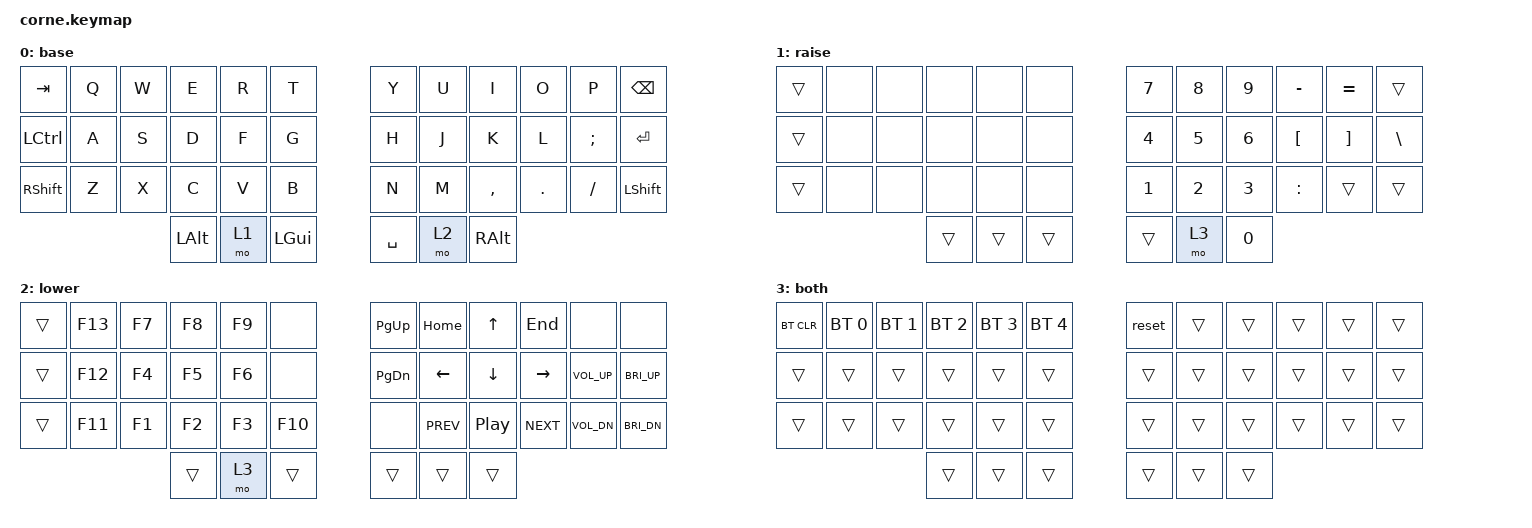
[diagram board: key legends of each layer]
/*
 * Copyright (c) 2020 The ZMK Contributors
 *
 * SPDX-License-Identifier: MIT
 */

#include <behaviors.dtsi>
#include <dt-bindings/zmk/keys.h>
#include <dt-bindings/zmk/bt.h>

// dt-formatter: indent = "  "
// dt-formatter: reindentMultilineIntegerCells = "dedent"

/ {
  behaviors {
    hm: homerow_mods {
      compatible = "zmk,behavior-hold-tap";
      label = "HOMEROW_MODS";
      #binding-cells = <2>;
      tapping-term-ms = <150>;
      quick-tap-ms = <0>;
      flavor = "tap-preferred";
      bindings =
        <&kp>,
        <&kp>;
    };
  };

  combos {
    compatible = "zmk,combos";

    del {
      bindings = <&kp DEL>;
      key-positions = <10 11>;
    };

    cmd {
      bindings = <&kp LCMD>;
      key-positions = <37 36>;
    };

    esc {
      bindings = <&kp ESC>;
      key-positions = <0 1>;
    };

    equal {
      bindings = <&kp EQUAL>;
      key-positions = <18 19>;
    };

    minus {
      bindings = <&kp MINUS>;
      key-positions = <30 31>;
    };

    capsLock {
      bindings = <&kp CAPS>;
      key-positions = <6 7>;
    };

    f3 {
      bindings = <&kp F3>;
      key-positions = <3 15>;
    };

    f4 {
      bindings = <&kp F4>;
      key-positions = <4 16>;
    };

    f10 {
      bindings = <&kp F10>;
      key-positions = <10 22>;
    };

    space {
      bindings = <&kp SPACE>;
      key-positions = <37 38>;
    };
  };

  macros {
    zed_em_kay: zed_em_kay {
      compatible = "zmk,behavior-macro";
      label = "ZM_zed_em_kay";
      #binding-cells = <0>;
      bindings =
        <&macro_press>,
        <&kp LSHFT>,
        <&macro_tap>,
        <&kp Z &kp M &kp K>,
        <&macro_release>,
        <&kp LSHFT>;
    };
  };

  keymap {
    compatible = "zmk,keymap";

    base {
      bindings = <
  &kp TAB  &kp Q  &kp W     &kp E  &kp R     &kp T        &kp Y  &kp U      &kp I    &kp O     &kp P  &kp BACKSPACE
&kp LCTRL  &kp A  &kp S     &kp D  &kp F     &kp G        &kp H  &kp J      &kp K    &kp L  &kp SEMI        &kp RET
&kp RSHFT  &kp Z  &kp X     &kp C  &kp V     &kp B        &kp N  &kp M  &kp COMMA  &kp DOT  &kp FSLH     &kp LSHIFT
                         &kp LALT  &mo 1  &kp LGUI    &kp SPACE  &mo 2   &kp RALT
      >;
    };

    raise {
      bindings = <
&trans  &none  &none   &none   &none   &none    &kp N7  &kp N8  &kp N9  &kp MINUS  &kp EQUAL         &trans
&trans  &none  &none   &none   &none   &none    &kp N4  &kp N5  &kp N6   &kp LBKT   &kp RBKT  &kp BACKSLASH
&trans  &none  &none   &none   &none   &none    &kp N1  &kp N2  &kp N3  &kp COLON     &trans         &trans
                      &trans  &trans  &trans    &trans   &mo 3  &kp N0
      >;
    };

    lower {
      bindings = <
&trans  &kp F13  &kp F7  &kp F8  &kp F9    &none    &kp PG_UP    &kp HOME            &kp UP     &kp END         &none         &none
&trans  &kp F12  &kp F4  &kp F5  &kp F6    &none    &kp PG_DN    &kp LEFT          &kp DOWN   &kp RIGHT  &kp C_VOL_UP  &kp C_BRI_UP
&trans  &kp F11  &kp F1  &kp F2  &kp F3  &kp F10        &none  &kp C_PREV  &kp C_PLAY_PAUSE  &kp C_NEXT  &kp C_VOL_DN  &kp C_BRI_DN
                         &trans   &mo 3   &trans       &trans      &trans            &trans
      >;
    };

    both {
      bindings = <
&bt BT_CLR  &bt BT_SEL 0  &bt BT_SEL 1  &bt BT_SEL 2  &bt BT_SEL 3  &bt BT_SEL 4    &reset  &trans  &trans  &trans  &trans  &trans
    &trans        &trans        &trans        &trans        &trans        &trans    &trans  &trans  &trans  &trans  &trans  &trans
    &trans        &trans        &trans        &trans        &trans        &trans    &trans  &trans  &trans  &trans  &trans  &trans
                                              &trans        &trans        &trans    &trans  &trans  &trans
      >;
    };
  };
  
  &nice_view_spi {
    cs-gpios = <&pro_micro 0 GPIO_ACTIVE_HIGH>;
};
